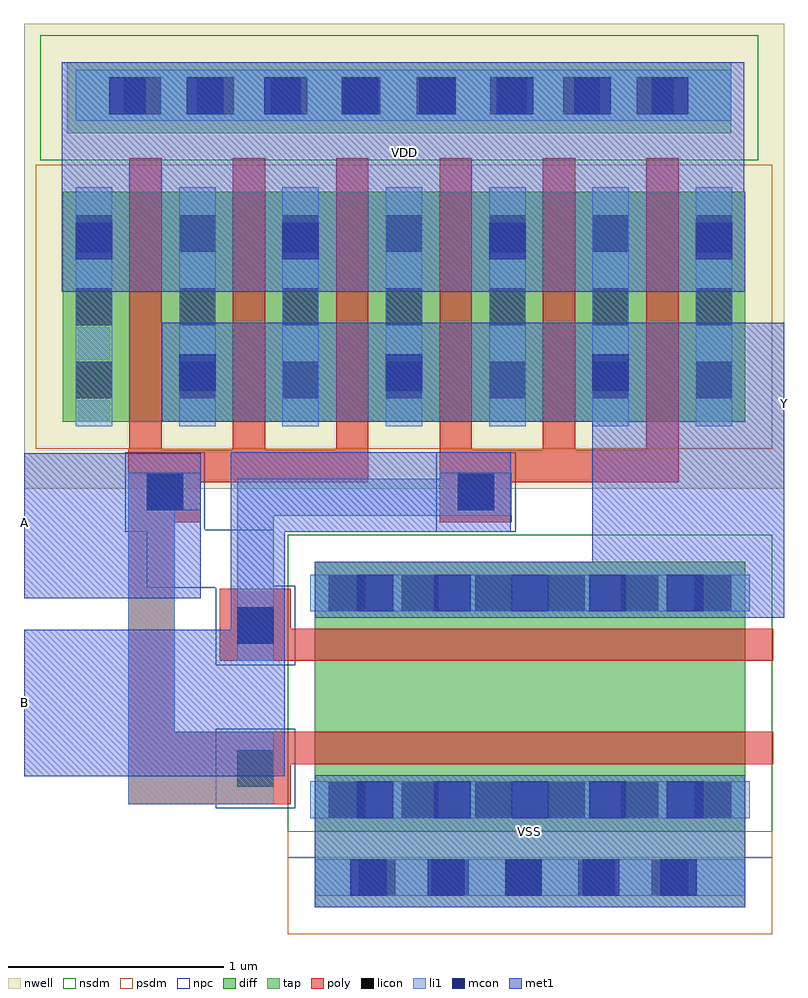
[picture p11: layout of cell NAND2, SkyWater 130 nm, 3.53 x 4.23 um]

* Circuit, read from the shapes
.subckt NAND2 A B VDD VSS Y
XM1 n1 A VSS VSS sky130_fd_pr__nfet_01v8 w=2 l=0.15
XM2 Y B n1 VSS sky130_fd_pr__nfet_01v8 w=2 l=0.15
XM3 Y A VDD VDD sky130_fd_pr__pfet_01v8 w=1.07 l=0.15 m=3
XM4 VDD B Y VDD sky130_fd_pr__pfet_01v8 w=1.07 l=0.15 m=3
.ends

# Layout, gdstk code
from math import pi, radians
import gdstk
lib = gdstk.Library(unit=1e-6, precision=1e-09)
def R(c, l, rs):  # rectangles x0, y0, x1, y1
    for r in rs: c.add(gdstk.rectangle(r[:2], r[2:], *l))
def A(c, l, x, y, w, h, nx, ny, dx, dy):  # array of equal rectangles
    R(c, l, [(x+i*dx, y+j*dy, x+i*dx+w, y+j*dy+h) for i in range(nx) for j in range(ny)])
nwell = (64, 20)
diff = (65, 20)
tap = (65, 44)
poly = (66, 20)
licon = (66, 44)
li1 = (67, 20)
mcon = (67, 44)
met1 = (68, 20)
nsdm = (93, 44)
psdm = (94, 20)
npc = (95, 20)

pmos_p2_w321_l015_f3 = lib.new_cell('pmos_p2-w321-L015-f3')
R(pmos_p2_w321_l015_f3, nwell, [(-1.765,-0.715,1.765,0.845)])
R(pmos_p2_w321_l015_f3, diff, [(-1.585,-0.535,1.585,0.535)])
A(pmos_p2_w321_l015_f3, poly, -1.275, -0.69, 0.15, 1.355, 6, 1, 0.48, 0)
R(pmos_p2_w321_l015_f3, poly, [(-1.275,0.665,-0.165,0.815), (0.165,0.665,1.275,0.815)])
A(pmos_p2_w321_l015_f3, licon, -1.525, -0.425, 0.17, 0.17, 7, 3, 0.48, 0.34)
A(pmos_p2_w321_l015_f3, li1, -1.525, -0.555, 0.17, 1.11, 7, 1, 0.48, 0)
A(pmos_p2_w321_l015_f3, mcon, -1.525, -0.39, 0.17, 0.17, 4, 1, 0.96, 0)
A(pmos_p2_w321_l015_f3, mcon, -1.045, 0.22, 0.17, 0.17, 3, 1, 0.96, 0)
R(pmos_p2_w321_l015_f3, met1, [(-1.585,-0.535,1.585,-0.075), (-1.125,0.075,1.585,0.535)])
R(pmos_p2_w321_l015_f3, psdm, [(-1.71,-0.66,1.71,0.66)])

nmos_2shared_w200_l015_f = lib.new_cell('nmos_2shared_W200-L015-F1')
R(nmos_2shared_w200_l015_f, diff, [(-0.625,-1,0.625,1)])
R(nmos_2shared_w200_l015_f, poly, [(-0.315,-1.13,-0.165,1.13), (0.165,-1.13,0.315,1.13)])
A(nmos_2shared_w200_l015_f, licon, -0.565, -0.935, 0.17, 0.17, 1, 6, 0, 0.34)
A(nmos_2shared_w200_l015_f, licon, 0.395, -0.935, 0.17, 0.17, 1, 6, 0, 0.34)
R(nmos_2shared_w200_l015_f, li1, [(-0.565,-1.02,-0.395,1.02), (0.395,-1.02,0.565,1.02)])
A(nmos_2shared_w200_l015_f, mcon, -0.565, -0.805, 0.17, 0.17, 1, 5, 0, 0.36)
A(nmos_2shared_w200_l015_f, mcon, 0.395, -0.805, 0.17, 0.17, 1, 5, 0, 0.36)
R(nmos_2shared_w200_l015_f, met1, [(-0.595,-1,-0.365,1), (0.365,-1,0.595,1)])
R(nmos_2shared_w200_l015_f, nsdm, [(-0.75,-1.125,0.75,1.125)])

nand2 = lib.new_cell('NAND2')
R(nand2, nwell, [(1.78,3.42,5.31,4.02)])
R(nand2, diff, [(3.13,0.27,5.13,0.3), (4.97,0.73,4.98,0.74)])
R(nand2, tap, [(3.13,-0.085,5.13,0.27), (1.98,3.51,5.065,3.84)])
R(nand2, poly, [(2.265,0.395,3.02,0.73), (2.265,0.73,2.48,1.705), (2.69,1.06,3.57,1.21), (2.69,1.21,3.02,1.395), (2.265,1.705,2.6,2.04), (3.71,1.705,4.045,2.04)])
A(nand2, licon, 3.335, -0.03, 0.17, 0.17, 5, 1, 0.34, 0)
A(nand2, licon, 2.245, 3.6, 0.17, 0.17, 8, 1, 0.34, 0)
R(nand2, licon, [(2.77,0.475,2.94,0.645), (2.77,1.14,2.94,1.31), (2.35,1.76,2.52,1.93), (3.795,1.76,3.965,1.93)])
R(nand2, li1, [(3.13,-0.03,5.13,0.14), (2.265,0.395,2.94,0.73), (2.265,0.73,2.48,1.76), (2.77,1.06,2.94,1.735), (2.77,1.735,4.045,1.905), (2.265,1.76,2.6,1.935), (3.71,1.905,4.045,1.935), (2.02,3.57,5.065,3.805)])
A(nand2, mcon, 3.295, -0.03, 0.17, 0.17, 5, 1, 0.36, 0)
A(nand2, mcon, 2.175, 3.6, 0.17, 0.17, 8, 1, 0.36, 0)
R(nand2, mcon, [(2.77,1.14,2.94,1.31), (2.35,1.76,2.52,1.93), (3.795,1.76,3.965,1.93)])
R(nand2, met1, [(3.13,-0.085,5.13,0.525), (1.78,0.525,2.99,1.205), (2.74,1.205,2.99,1.66), (3.13,1.26,5.31,1.52), (1.78,1.35,2.6,2.025), (4.42,1.52,5.31,2.17), (2.74,1.66,4.04,2.03), (2.425,2.17,5.31,2.63), (1.955,2.775,5.125,3.84)])
R(nand2, nsdm, [(3.005,0.27,5.255,0.425), (4.845,0.425,5.105,0.865), (1.855,3.385,5.19,3.965)])
R(nand2, psdm, [(3.005,-0.21,5.255,0.27)])
R(nand2, npc, [(2.67,0.375,3.04,0.745), (2.67,1.04,3.04,1.4), (2.35,1.4,3.04,1.41), (2.35,1.41,2.94,1.66), (2.25,1.66,2.94,1.67), (3.695,1.66,4.065,2.03), (2.25,1.67,2.62,2.03)])
nand2.add(gdstk.Reference(pmos_p2_w321_l015_f3, (3.545,2.705), x_reflection=True))
nand2.add(gdstk.Reference(nmos_2shared_w200_l015_f, (4.13,0.895), rotation=3*pi/2))
nand2.add(gdstk.Label('A', (1.78,1.705), layer=68, texttype=16))
nand2.add(gdstk.Label('B', (1.78,0.865), layer=68, texttype=16))
nand2.add(gdstk.Label('VSS', (4.13,0.27), layer=68, texttype=16))
nand2.add(gdstk.Label('VDD', (3.545,3.42), layer=68, texttype=16))
nand2.add(gdstk.Label('Y', (5.31,2.255), layer=68, texttype=16))

lib.write_gds('NAND2.gds')
